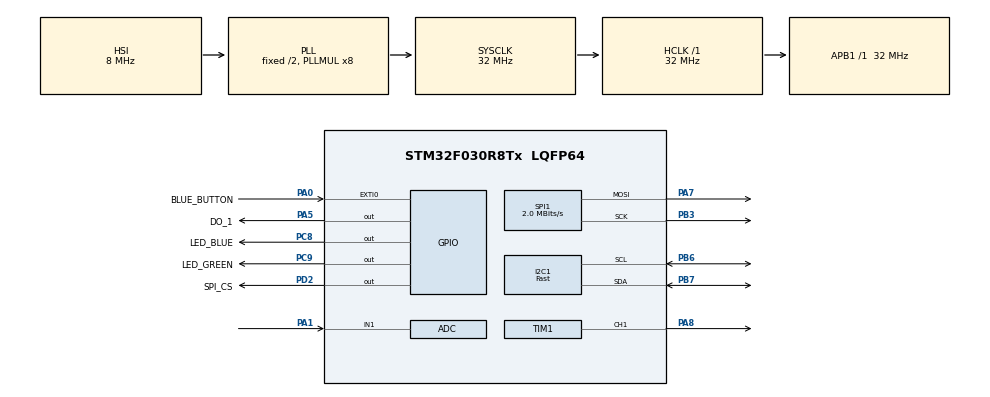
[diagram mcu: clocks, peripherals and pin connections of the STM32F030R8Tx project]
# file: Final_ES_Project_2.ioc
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ADC.ClockPrescaler=ADC_CLOCK_SYNC_PCLK_DIV4
ADC.ContinuousConvMode=ENABLE
ADC.DMAContinuousRequests=ENABLE
ADC.EOCSelection=ADC_EOC_SINGLE_CONV
ADC.SamplingTime=ADC_SAMPLETIME_71CYCLES_5
Dma.ADC.0.Direction=DMA_PERIPH_TO_MEMORY
Dma.ADC.0.Instance=DMA1_Channel1
Dma.ADC.0.MemDataAlignment=DMA_MDATAALIGN_HALFWORD
Dma.ADC.0.MemInc=DMA_MINC_ENABLE
Dma.ADC.0.Mode=DMA_CIRCULAR
Dma.ADC.0.PeriphDataAlignment=DMA_PDATAALIGN_HALFWORD
Dma.ADC.0.PeriphInc=DMA_PINC_DISABLE
Dma.ADC.0.Priority=DMA_PRIORITY_LOW
Dma.Request0=ADC
I2C1.Analog_Filter=I2C_ANALOGFILTER_DISABLE
I2C1.I2C_Speed_Mode=I2C_Fast
I2C1.Timing=0x0000020C
Mcu.Family=STM32F0
Mcu.Name=STM32F030R8Tx
Mcu.Package=LQFP64
NVIC.DMA1_Channel1_IRQn=true\:0\:0\:false\:false\:true\:false\:true
NVIC.EXTI0_1_IRQn=true\:0\:0\:false\:false\:true\:true\:true
NVIC.TIM15_IRQn=true\:0\:0\:false\:false\:true\:true\:true
NVIC.TIM3_IRQn=true\:0\:0\:false\:false\:true\:true\:true
PA0.GPIO_Label=BLUE_BUTTON
PA0.GPIO_ModeDefaultEXTI=GPIO_MODE_IT_RISING
PA0.Signal=GPXTI0
PA1.Mode=IN1
PA1.Signal=ADC_IN1
PA13.GPIO_Label=SWDIO
PA13.Mode=Serial_Wire
PA13.Signal=SYS_SWDIO
PA14.GPIO_Label=SWCLK
PA14.Mode=Serial_Wire
PA14.Signal=SYS_SWCLK
PA5.GPIO_Label=DO_1
PA5.Signal=GPIO_Output
PA7.Mode=TX_Only_Simplex_Unidirect_Master
PA7.Signal=SPI1_MOSI
PA8.Signal=S_TIM1_CH1
PB3.Mode=TX_Only_Simplex_Unidirect_Master
PB3.Signal=SPI1_SCK
PB6.Mode=I2C
PB6.Signal=I2C1_SCL
PB7.Mode=I2C
PB7.Signal=I2C1_SDA
PC8.GPIO_Label=LED_BLUE
PC8.Signal=GPIO_Output
PC9.GPIO_Label=LED_GREEN
PC9.Signal=GPIO_Output
PD2.GPIO_Label=SPI_CS
PD2.Signal=GPIO_Output
ProjectManager.HeapSize=0x200
ProjectManager.StackSize=0x400
ProjectManager.TargetToolchain=STM32CubeIDE
RCC.AHBFreq_Value=32000000
RCC.APB1Freq_Value=32000000
RCC.APB1TimFreq_Value=32000000
RCC.HCLKFreq_Value=32000000
RCC.PLLMUL=RCC_PLL_MUL8
RCC.SYSCLKFreq_VALUE=32000000
RCC.SYSCLKSource=RCC_SYSCLKSOURCE_PLLCLK
SH.S_TIM1_CH1.0=TIM1_CH1,PWM Generation1 CH1
SPI1.BaudRatePrescaler=SPI_BAUDRATEPRESCALER_16
SPI1.CalculateBaudRate=2.0 MBits/s
SPI1.DataSize=SPI_DATASIZE_8BIT
SPI1.Direction=SPI_DIRECTION_2LINES
SPI1.Mode=SPI_MODE_MASTER
SPI1.VirtualType=VM_MASTER
TIM1.Channel-PWM\ Generation1\ CH1=TIM_CHANNEL_1
TIM1.Period=100
TIM1.Prescaler=1000
TIM1.Pulse-PWM\ Generation1\ CH1=80
TIM15.Period=800
TIM15.Prescaler=60000
TIM3.Period=150
TIM3.Prescaler=30000
VP_TIM15_VS_ClockSourceINT.Mode=Internal
VP_TIM1_VS_ClockSourceINT.Mode=Internal
VP_TIM3_VS_ClockSourceINT.Mode=Internal
board=STM32F0308-DISCO

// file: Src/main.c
/* USER CODE BEGIN Header */
/**
  ******************************************************************************
  * @file           : main.c
  * @brief          : Main program body
  ******************************************************************************
  * @attention
  *
  * <h2><center>&copy; Copyright (c) 2020 STMicroelectronics.
  * All rights reserved.</center></h2>
  *
  * This software component is licensed by ST under BSD 3-Clause license,
  * the "License"; You may not use this file except in compliance with the
  * License. You may obtain a copy of the License at:
  *                        opensource.org/licenses/BSD-3-Clause
  *
  ******************************************************************************
  */
/* USER CODE END Header */

#include "main.h"

/* USER CODE BEGIN PD */
#define SET_POINT_SCALER 10
#define TOLERANCE 20
#define PWM_STEP 5

/* USER CODE END PD */

ADC_HandleTypeDef hadc;
DMA_HandleTypeDef hdma_adc;

I2C_HandleTypeDef hi2c1;

SPI_HandleTypeDef hspi1;

TIM_HandleTypeDef htim1;	// LEDs PWM
TIM_HandleTypeDef htim3;	// interrupt with main control program
TIM_HandleTypeDef htim15;	// sending values to Arduino using spi

/* USER CODE BEGIN PV */

volatile uint16_t *p_potentiometer;
volatile uint16_t potentiometer;
volatile uint16_t photoresistor;
volatile uint16_t photores_set_point;
volatile uint8_t duty_level;
volatile int16_t difference;

volatile uint8_t i2c_from_Arduino[2];
volatile uint8_t spi_to_Arduino[2];

/* USER CODE END PV */

void SystemClock_Config(void);
static void MX_GPIO_Init(void);
static void MX_DMA_Init(void);
static void MX_ADC_Init(void);
static void MX_TIM3_Init(void);
static void MX_I2C1_Init(void);
static void MX_TIM1_Init(void);
static void MX_TIM15_Init(void);
static void MX_SPI1_Init(void);
/* USER CODE BEGIN PFP */

void HAL_TIM_PeriodElapsedCallback(TIM_HandleTypeDef*htim)
{
	if(htim->Instance == TIM3){
		//get value from photoresistor - i2c from Arduino
		HAL_I2C_Master_Receive(&hi2c1, 0x8 << 1, i2c_from_Arduino, 2, 1000);
		photoresistor = i2c_from_Arduino[1] << 8 | i2c_from_Arduino[0];
		//scale value from potentiometer to simillar range as values from photoresistor
		photores_set_point = potentiometer/SET_POINT_SCALER;

		difference = photores_set_point - photoresistor;

		//compute duty level
		if(difference > TOLERANCE){
			if(duty_level <= 100 - PWM_STEP)
			duty_level +=PWM_STEP;
		}
		else if (difference < -1*TOLERANCE){
			if(duty_level >= PWM_STEP)
			duty_level -=PWM_STEP;
		}

		// apply duty level
		TIM1->CCR1 = duty_level;
	}

	if(htim->Instance == TIM15){
		//update array with values that are sent to Arduino using spi
		spi_to_Arduino[1] = (potentiometer >> 8) & 0xFF;
		spi_to_Arduino[0] = potentiometer & 0xFF;

		// send values to Arduino using spi
		HAL_GPIO_TogglePin(LED_BLUE_GPIO_Port, LED_BLUE_Pin); // only to inform that values are sent
		HAL_GPIO_WritePin(SPI_CS_GPIO_Port, SPI_CS_Pin, GPIO_PIN_RESET);
		HAL_SPI_Transmit(&hspi1, spi_to_Arduino, 2, HAL_MAX_DELAY);
		HAL_GPIO_WritePin(SPI_CS_GPIO_Port, SPI_CS_Pin, GPIO_PIN_SET);
	}
}
/* USER CODE END PFP */

int main(void)
{

  /* MCU Configuration--------------------------------------------------------*/

  /* Reset of all peripherals, Initializes the Flash interface and the Systick. */
  HAL_Init();

  /* Configure the system clock */
  SystemClock_Config();

  /* Initialize all configured peripherals */
  MX_GPIO_Init();
  MX_DMA_Init();
  MX_ADC_Init();
  MX_TIM3_Init();
  MX_I2C1_Init();
  MX_TIM1_Init();
  MX_TIM15_Init();
  MX_SPI1_Init();
  /* USER CODE BEGIN 2 */
 // HAL_ADC_Start_IT(&hadc);
  HAL_TIM_Base_Start_IT(&htim3);
  HAL_TIM_Base_Start_IT(&htim15);
  HAL_TIM_PWM_Start(&htim1, TIM_CHANNEL_1);

  p_potentiometer = &potentiometer;
  HAL_ADC_Start_DMA(&hadc, p_potentiometer, 1);

  /* USER CODE END 2 */

  /* Infinite loop */
  while (1)
  {

  }
}

void SystemClock_Config(void)
{
  RCC_OscInitTypeDef RCC_OscInitStruct = {0};
  RCC_ClkInitTypeDef RCC_ClkInitStruct = {0};
  RCC_PeriphCLKInitTypeDef PeriphClkInit = {0};

  /** Initializes the CPU, AHB and APB busses clocks
  */
  RCC_OscInitStruct.OscillatorType = RCC_OSCILLATORTYPE_HSI;
  RCC_OscInitStruct.HSIState = RCC_HSI_ON;
  RCC_OscInitStruct.HSICalibrationValue = RCC_HSICALIBRATION_DEFAULT;
  RCC_OscInitStruct.PLL.PLLState = RCC_PLL_ON;
  RCC_OscInitStruct.PLL.PLLSource = RCC_PLLSOURCE_HSI;
  RCC_OscInitStruct.PLL.PLLMUL = RCC_PLL_MUL8;
  RCC_OscInitStruct.PLL.PREDIV = RCC_PREDIV_DIV1;
  if (HAL_RCC_OscConfig(&RCC_OscInitStruct) != HAL_OK)
  {
    Error_Handler();
  }
  /** Initializes the CPU, AHB and APB busses clocks
  */
  RCC_ClkInitStruct.ClockType = RCC_CLOCKTYPE_HCLK|RCC_CLOCKTYPE_SYSCLK
                              |RCC_CLOCKTYPE_PCLK1;
  RCC_ClkInitStruct.SYSCLKSource = RCC_SYSCLKSOURCE_PLLCLK;
  RCC_ClkInitStruct.AHBCLKDivider = RCC_SYSCLK_DIV1;
  RCC_ClkInitStruct.APB1CLKDivider = RCC_HCLK_DIV1;

  if (HAL_RCC_ClockConfig(&RCC_ClkInitStruct, FLASH_LATENCY_1) != HAL_OK)
  {
    Error_Handler();
  }
  PeriphClkInit.PeriphClockSelection = RCC_PERIPHCLK_I2C1;
  PeriphClkInit.I2c1ClockSelection = RCC_I2C1CLKSOURCE_HSI;
  if (HAL_RCCEx_PeriphCLKConfig(&PeriphClkInit) != HAL_OK)
  {
    Error_Handler();
  }
}

static void MX_ADC_Init(void)
{

  ADC_ChannelConfTypeDef sConfig = {0};

  /** Configure the global features of the ADC (Clock, Resolution, Data Alignment and number of conversion)
  */
  hadc.Instance = ADC1;
  hadc.Init.ClockPrescaler = ADC_CLOCK_SYNC_PCLK_DIV4;
  hadc.Init.Resolution = ADC_RESOLUTION_12B;
  hadc.Init.DataAlign = ADC_DATAALIGN_RIGHT;
  hadc.Init.ScanConvMode = ADC_SCAN_DIRECTION_FORWARD;
  hadc.Init.EOCSelection = ADC_EOC_SINGLE_CONV;
  hadc.Init.LowPowerAutoWait = DISABLE;
  hadc.Init.LowPowerAutoPowerOff = DISABLE;
  hadc.Init.ContinuousConvMode = ENABLE;
  hadc.Init.DiscontinuousConvMode = DISABLE;
  hadc.Init.ExternalTrigConv = ADC_SOFTWARE_START;
  hadc.Init.ExternalTrigConvEdge = ADC_EXTERNALTRIGCONVEDGE_NONE;
  hadc.Init.DMAContinuousRequests = ENABLE;
  hadc.Init.Overrun = ADC_OVR_DATA_PRESERVED;
  if (HAL_ADC_Init(&hadc) != HAL_OK)
  {
    Error_Handler();
  }
  /** Configure for the selected ADC regular channel to be converted.
  */
  sConfig.Channel = ADC_CHANNEL_1;
  sConfig.Rank = ADC_RANK_CHANNEL_NUMBER;
  sConfig.SamplingTime = ADC_SAMPLETIME_71CYCLES_5;
  if (HAL_ADC_ConfigChannel(&hadc, &sConfig) != HAL_OK)
  {
    Error_Handler();
  }

}

static void MX_I2C1_Init(void)
{

  hi2c1.Instance = I2C1;
  hi2c1.Init.Timing = 0x0000020C;
  hi2c1.Init.OwnAddress1 = 0;
  hi2c1.Init.AddressingMode = I2C_ADDRESSINGMODE_7BIT;
  hi2c1.Init.DualAddressMode = I2C_DUALADDRESS_DISABLE;
  hi2c1.Init.OwnAddress2 = 0;
  hi2c1.Init.OwnAddress2Masks = I2C_OA2_NOMASK;
  hi2c1.Init.GeneralCallMode = I2C_GENERALCALL_DISABLE;
  hi2c1.Init.NoStretchMode = I2C_NOSTRETCH_DISABLE;
  if (HAL_I2C_Init(&hi2c1) != HAL_OK)
  {
    Error_Handler();
  }
  /** Configure Analogue filter
  */
  if (HAL_I2CEx_ConfigAnalogFilter(&hi2c1, I2C_ANALOGFILTER_DISABLE) != HAL_OK)
  {
    Error_Handler();
  }
  /** Configure Digital filter
  */
  if (HAL_I2CEx_ConfigDigitalFilter(&hi2c1, 0) != HAL_OK)
  {
    Error_Handler();
  }

}

static void MX_SPI1_Init(void)
{

  /* SPI1 parameter configuration*/
  hspi1.Instance = SPI1;
  hspi1.Init.Mode = SPI_MODE_MASTER;
  hspi1.Init.Direction = SPI_DIRECTION_2LINES;
  hspi1.Init.DataSize = SPI_DATASIZE_8BIT;
  hspi1.Init.CLKPolarity = SPI_POLARITY_LOW;
  hspi1.Init.CLKPhase = SPI_PHASE_1EDGE;
  hspi1.Init.NSS = SPI_NSS_SOFT;
  hspi1.Init.BaudRatePrescaler = SPI_BAUDRATEPRESCALER_16;
  hspi1.Init.FirstBit = SPI_FIRSTBIT_MSB;
  hspi1.Init.TIMode = SPI_TIMODE_DISABLE;
  hspi1.Init.CRCCalculation = SPI_CRCCALCULATION_DISABLE;
  hspi1.Init.CRCPolynomial = 7;
  hspi1.Init.CRCLength = SPI_CRC_LENGTH_DATASIZE;
  hspi1.Init.NSSPMode = SPI_NSS_PULSE_ENABLE;
  if (HAL_SPI_Init(&hspi1) != HAL_OK)
  {
    Error_Handler();
  }

}

static void MX_TIM1_Init(void)
{

  TIM_ClockConfigTypeDef sClockSourceConfig = {0};
  TIM_MasterConfigTypeDef sMasterConfig = {0};
  TIM_OC_InitTypeDef sConfigOC = {0};
  TIM_BreakDeadTimeConfigTypeDef sBreakDeadTimeConfig = {0};

  htim1.Instance = TIM1;
  htim1.Init.Prescaler = 1000;
  htim1.Init.CounterMode = TIM_COUNTERMODE_UP;
  htim1.Init.Period = 100;
  htim1.Init.ClockDivision = TIM_CLOCKDIVISION_DIV1;
  htim1.Init.RepetitionCounter = 0;
  htim1.Init.AutoReloadPreload = TIM_AUTORELOAD_PRELOAD_DISABLE;
  if (HAL_TIM_Base_Init(&htim1) != HAL_OK)
  {
    Error_Handler();
  }
  sClockSourceConfig.ClockSource = TIM_CLOCKSOURCE_INTERNAL;
  if (HAL_TIM_ConfigClockSource(&htim1, &sClockSourceConfig) != HAL_OK)
  {
    Error_Handler();
  }
  if (HAL_TIM_PWM_Init(&htim1) != HAL_OK)
  {
    Error_Handler();
  }
  sMasterConfig.MasterOutputTrigger = TIM_TRGO_RESET;
  sMasterConfig.MasterSlaveMode = TIM_MASTERSLAVEMODE_DISABLE;
  if (HAL_TIMEx_MasterConfigSynchronization(&htim1, &sMasterConfig) != HAL_OK)
  {
    Error_Handler();
  }
  sConfigOC.OCMode = TIM_OCMODE_PWM1;
  sConfigOC.Pulse = 80;
  sConfigOC.OCPolarity = TIM_OCPOLARITY_HIGH;
  sConfigOC.OCNPolarity = TIM_OCNPOLARITY_HIGH;
  sConfigOC.OCFastMode = TIM_OCFAST_DISABLE;
  sConfigOC.OCIdleState = TIM_OCIDLESTATE_RESET;
  sConfigOC.OCNIdleState = TIM_OCNIDLESTATE_RESET;
  if (HAL_TIM_PWM_ConfigChannel(&htim1, &sConfigOC, TIM_CHANNEL_1) != HAL_OK)
  {
    Error_Handler();
  }
  sBreakDeadTimeConfig.OffStateRunMode = TIM_OSSR_DISABLE;
  sBreakDeadTimeConfig.OffStateIDLEMode = TIM_OSSI_DISABLE;
  sBreakDeadTimeConfig.LockLevel = TIM_LOCKLEVEL_OFF;
  sBreakDeadTimeConfig.DeadTime = 0;
  sBreakDeadTimeConfig.BreakState = TIM_BREAK_DISABLE;
  sBreakDeadTimeConfig.BreakPolarity = TIM_BREAKPOLARITY_HIGH;
  sBreakDeadTimeConfig.AutomaticOutput = TIM_AUTOMATICOUTPUT_DISABLE;
  if (HAL_TIMEx_ConfigBreakDeadTime(&htim1, &sBreakDeadTimeConfig) != HAL_OK)
  {
    Error_Handler();
  }
  HAL_TIM_MspPostInit(&htim1);

}

static void MX_TIM3_Init(void)
{

  TIM_ClockConfigTypeDef sClockSourceConfig = {0};
  TIM_MasterConfigTypeDef sMasterConfig = {0};

  htim3.Instance = TIM3;
  htim3.Init.Prescaler = 30000;
  htim3.Init.CounterMode = TIM_COUNTERMODE_UP;
  htim3.Init.Period = 150;
  htim3.Init.ClockDivision = TIM_CLOCKDIVISION_DIV1;
  htim3.Init.AutoReloadPreload = TIM_AUTORELOAD_PRELOAD_DISABLE;
  if (HAL_TIM_Base_Init(&htim3) != HAL_OK)
  {
    Error_Handler();
  }
  sClockSourceConfig.ClockSource = TIM_CLOCKSOURCE_INTERNAL;
  if (HAL_TIM_ConfigClockSource(&htim3, &sClockSourceConfig) != HAL_OK)
  {
    Error_Handler();
  }
  sMasterConfig.MasterOutputTrigger = TIM_TRGO_RESET;
  sMasterConfig.MasterSlaveMode = TIM_MASTERSLAVEMODE_DISABLE;
  if (HAL_TIMEx_MasterConfigSynchronization(&htim3, &sMasterConfig) != HAL_OK)
  {
    Error_Handler();
  }

}

static void MX_TIM15_Init(void)
{

  TIM_ClockConfigTypeDef sClockSourceConfig = {0};
  TIM_MasterConfigTypeDef sMasterConfig = {0};

  htim15.Instance = TIM15;
  htim15.Init.Prescaler = 60000;
  htim15.Init.CounterMode = TIM_COUNTERMODE_UP;
  htim15.Init.Period = 800;
  htim15.Init.ClockDivision = TIM_CLOCKDIVISION_DIV1;
  htim15.Init.RepetitionCounter = 0;
  htim15.Init.AutoReloadPreload = TIM_AUTORELOAD_PRELOAD_DISABLE;
  if (HAL_TIM_Base_Init(&htim15) != HAL_OK)
  {
    Error_Handler();
  }
  sClockSourceConfig.ClockSource = TIM_CLOCKSOURCE_INTERNAL;
  if (HAL_TIM_ConfigClockSource(&htim15, &sClockSourceConfig) != HAL_OK)
  {
    Error_Handler();
  }
  sMasterConfig.MasterOutputTrigger = TIM_TRGO_RESET;
  sMasterConfig.MasterSlaveMode = TIM_MASTERSLAVEMODE_DISABLE;
  if (HAL_TIMEx_MasterConfigSynchronization(&htim15, &sMasterConfig) != HAL_OK)
  {
    Error_Handler();
  }

}

static void MX_DMA_Init(void)
{

  /* DMA controller clock enable */
  __HAL_RCC_DMA1_CLK_ENABLE();

  /* DMA interrupt init */
  /* DMA1_Channel1_IRQn interrupt configuration */
  HAL_NVIC_SetPriority(DMA1_Channel1_IRQn, 0, 0);
  HAL_NVIC_EnableIRQ(DMA1_Channel1_IRQn);

}

static void MX_GPIO_Init(void)
{
  GPIO_InitTypeDef GPIO_InitStruct = {0};

  /* GPIO Ports Clock Enable */
  __HAL_RCC_GPIOA_CLK_ENABLE();
  __HAL_RCC_GPIOC_CLK_ENABLE();
  __HAL_RCC_GPIOD_CLK_ENABLE();
  __HAL_RCC_GPIOB_CLK_ENABLE();

  /*Configure GPIO pin Output Level */
  HAL_GPIO_WritePin(DO_1_GPIO_Port, DO_1_Pin, GPIO_PIN_RESET);

  /*Configure GPIO pin Output Level */
  HAL_GPIO_WritePin(GPIOC, LED_BLUE_Pin|LED_GREEN_Pin, GPIO_PIN_RESET);

  /*Configure GPIO pin Output Level */
  HAL_GPIO_WritePin(SPI_CS_GPIO_Port, SPI_CS_Pin, GPIO_PIN_RESET);

  /*Configure GPIO pin : BLUE_BUTTON_Pin */
  GPIO_InitStruct.Pin = BLUE_BUTTON_Pin;
  GPIO_InitStruct.Mode = GPIO_MODE_IT_RISING;
  GPIO_InitStruct.Pull = GPIO_NOPULL;
  HAL_GPIO_Init(BLUE_BUTTON_GPIO_Port, &GPIO_InitStruct);

  /*Configure GPIO pin : DO_1_Pin */
  GPIO_InitStruct.Pin = DO_1_Pin;
  GPIO_InitStruct.Mode = GPIO_MODE_OUTPUT_PP;
  GPIO_InitStruct.Pull = GPIO_NOPULL;
  GPIO_InitStruct.Speed = GPIO_SPEED_FREQ_LOW;
  HAL_GPIO_Init(DO_1_GPIO_Port, &GPIO_InitStruct);

  /*Configure GPIO pins : LED_BLUE_Pin LED_GREEN_Pin */
  GPIO_InitStruct.Pin = LED_BLUE_Pin|LED_GREEN_Pin;
  GPIO_InitStruct.Mode = GPIO_MODE_OUTPUT_PP;
  GPIO_InitStruct.Pull = GPIO_NOPULL;
  GPIO_InitStruct.Speed = GPIO_SPEED_FREQ_LOW;
  HAL_GPIO_Init(GPIOC, &GPIO_InitStruct);

  /*Configure GPIO pin : SPI_CS_Pin */
  GPIO_InitStruct.Pin = SPI_CS_Pin;
  GPIO_InitStruct.Mode = GPIO_MODE_OUTPUT_PP;
  GPIO_InitStruct.Pull = GPIO_NOPULL;
  GPIO_InitStruct.Speed = GPIO_SPEED_FREQ_LOW;
  HAL_GPIO_Init(SPI_CS_GPIO_Port, &GPIO_InitStruct);

  /* EXTI interrupt init*/
  HAL_NVIC_SetPriority(EXTI0_1_IRQn, 0, 0);
  HAL_NVIC_EnableIRQ(EXTI0_1_IRQn);

}

void Error_Handler(void)
{
}

/************************ (C) COPYRIGHT STMicroelectronics *****END OF FILE****/
